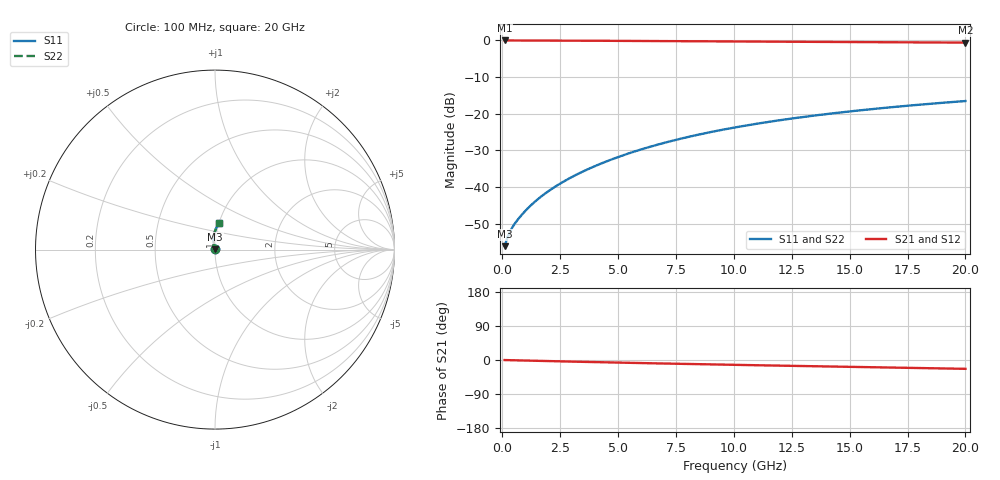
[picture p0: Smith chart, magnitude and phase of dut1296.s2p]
! Touchstone file exported from HFSS 2024.1.0
!  File:  C:/UserFiles/LocalFiles/RDL_TSV_Batchsim/temp_RDL_bottom_1296_1780247317.aedt
!  Generated:  01:10:54 AM Jun  1, 2026
!  Design:  RDL_bottom
!  Project:  temp_RDL_bottom_1296_1780247317
!  Setup:  Setup1
!  Solution:  Sweep
! Variables:
!  dtsv = 10.80580581um
!  hbump = 3um
!  htsv = 98.43um
!  ldown = 382.88um
!  lrdl = 100um
!  p = 40
!  p1 = 41.93um
!  rhole = 1um
!  t = 450um
!  tdown = 3.96um
!  trdl = 3.915915916um
!  wdown = 29.32um
!  wrdl = 20um
# GHz S MA R 50.000000
! Terminal data exported
! Port[1] = RDL1_T1
! Port[2] = RDL1_T2
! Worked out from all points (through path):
!   200 points, 100 MHz to 20 GHz, reference 50 ohm
!   highest |S21| = -0.01 dB at 100 MHz (marker M1); lowest = -0.6 dB at 20 GHz (marker M2)
!   group delay of S21, straight-line fit = 3.18 ps
!   lowest |S11| = -56.1 dB at 100 MHz (marker M3), VSWR 1.00, Z = 50.1 + j0.0633 ohm
!   |S11| at or under -10 dB: start of sweep to end of sweep
!   |S22| runs from -56.1 to -16.5 dB; largest |S21 - S12| = 2.7e-15
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0.1  0.001563 23.8  0.9986 -0.2  0.9986 -0.2  0.001563 23.8
! Gamma 0 0 0 0
! Port Impedance 50 0 50 0
0.2  0.001956 36.9  0.9984 -0.3  0.9984 -0.3  0.001956 36.9
0.3  0.002347 44.0  0.9982 -0.5  0.9982 -0.5  0.002346 44.0
0.4  0.002703 49.0  0.9981 -0.6  0.9981 -0.6  0.002702 49.0
0.5  0.003039 53.2  0.998 -0.7  0.998 -0.7  0.003038 53.2
0.8  0.004045 63.4  0.9976 -1.2  0.9976 -1.2  0.004043 63.4
1.2  0.005503 73.0  0.9971 -1.7  0.9971 -1.7  0.005501 73.1
1.7  0.007522 81.0  0.9962 -2.4  0.9962 -2.4  0.007521 81.0
2.2  0.009739 86.5  0.9951 -3.1  0.9951 -3.1  0.009738 86.5
2.8  0.01265 91.1  0.9935 -4.0  0.9935 -4.0  0.01265 91.1
3.5  0.0164 94.7  0.9912 -4.9  0.9912 -4.9  0.0164 94.7
4.2  0.02052 97.1  0.9887 -5.8  0.9887 -5.8  0.02052 97.1
5  0.02565 98.7  0.9856 -6.9  0.9856 -6.9  0.02565 98.7
5.9  0.03191 99.6  0.9818 -8.0  0.9818 -8.0  0.03191 99.6
6.8  0.0386 99.7  0.9781 -9.1  0.9781 -9.1  0.03859 99.7
8.4  0.05129 98.7  0.9714 -10.9  0.9714 -10.9  0.05128 98.6
10.1  0.06548 96.6  0.9648 -12.9  0.9648 -12.9  0.06546 96.6
11.7  0.07916 94.3  0.9589 -14.6  0.9589 -14.6  0.07914 94.3
13.4  0.09379 91.7  0.9532 -16.4  0.9532 -16.4  0.09376 91.6
15  0.1075 89.1  0.9481 -18.1  0.9481 -18.1  0.1075 89.1
16.7  0.1219 86.5  0.9431 -19.9  0.9431 -19.9  0.1218 86.4
20  0.1491 81.5  0.9339 -23.3  0.9339 -23.3  0.149 81.4
